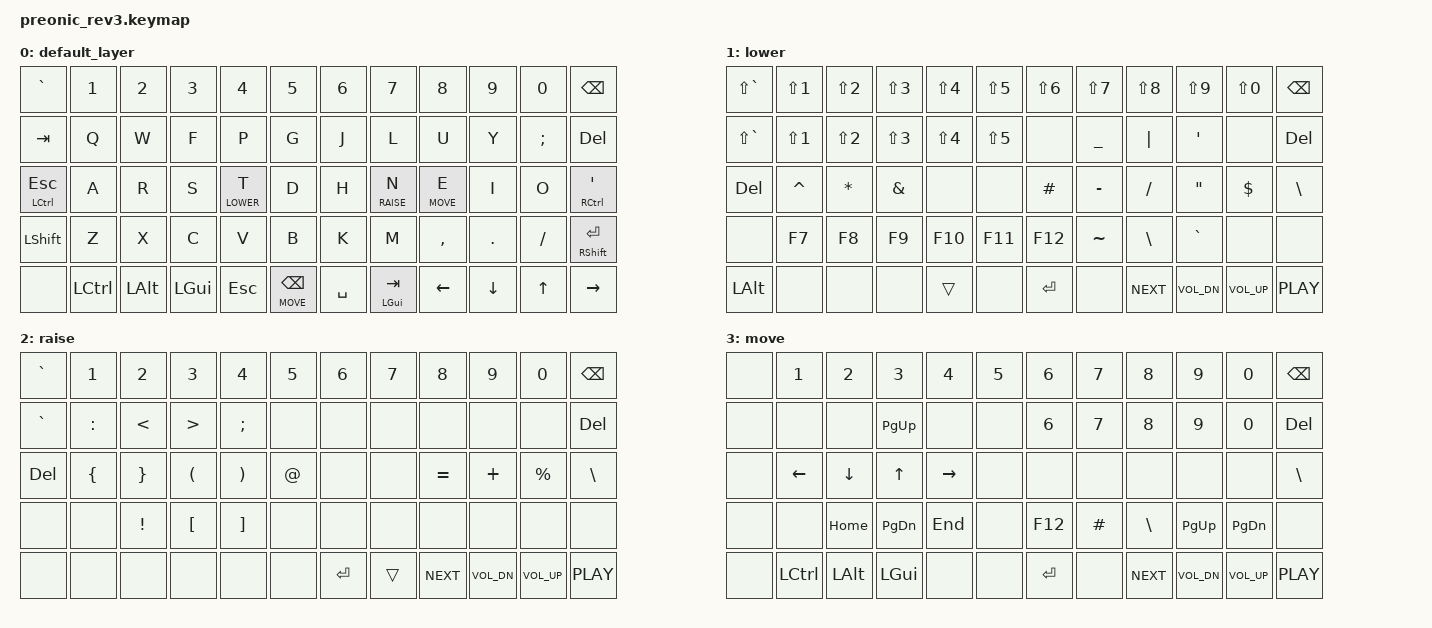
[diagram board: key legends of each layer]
/*
 * Copyright (c) 2022 The ZMK Contributors
 *
 * SPDX-License-Identifier: MIT
 */

#include <behaviors.dtsi>
#include <dt-bindings/zmk/keys.h>
#include <dt-bindings/zmk/bt.h>

#define DEFAULT 0
#define LOWER   1
#define RAISE   2
#define MOVE    3

&sk {
	// don't release mods on other mods presses
	ignore-modifiers;
};

/ {
    behaviors {
		// Enables holding the first mod-tap key
		// by performing a tap-release-hold sequence.
		// To use it: "&qt KEYCODE1 KEYCODE2"
		qt: quick_tap {
			compatible = "zmk,behavior-hold-tap";
			label = "QUICK_TAP";
			#binding-cells = <2>;
			flavor = "hold-preferred";
			tapping-term-ms = <190>;
			quick-tap-ms = <185>;
			bindings = <&kp>, <&kp>;
		};
        gqt: global-quick-tap {
            compatible = "zmk,behavior-hold-tap";
            label = "GLOBAL_QUICK_TAP";
            #binding-cells = <2>;
            flavor = "tap-preferred";
            tapping-term-ms = <175>;
            quick-tap-ms = <175>;
            global-quick-tap;
            bindings = <&mo>, <&kp>;
        };
	};
    combos {
        compatible = "zmk,combos";

        combo_cmd_mac{
			timeout-ms = <200>;
			key-positions = <32 33>;
			bindings = <&kp LGUI>;
            require-prior-idle-ms = <200>;
			layers = <DEFAULT>;
		};

        combo_ctrl_shift {
			timeout-ms = <200>;
			key-positions = <27 28>;
			bindings = <&kp LC(SPACE)>;
            require-prior-idle-ms = <200>;
			layers = <DEFAULT>;
		};
    };
    chosen { zmk,matrix_transform = &layout_grid_transform; };
    keymap {
        compatible = "zmk,keymap";
        default_layer {
            //  -------------------------------------------------------------------------------------------------
            // |  GRAV |  1   |  2   |  3   |  4    |  5     |   6     |  7     |  8   |  9    |   0   | BSPC   |
            // |  TAB  |  Q   |  W   |  F   |  P    |  G     |   J     |  L     |  U   |  Y    |   :   | DEL    |
            // |  ESC  |  A   |  R   |  S   |  T    |  D     |   H     |  N     |  E   |  I    |   O   |  '     |
            // | SHIFT |  Z   |  X   |  C   |  V    |  B     |   K     |  M     |  ,   |  .    |   /   | RET    |
            // |       | LGUI | LALT | LCTL | LOWER | SPACE  |  SPACE  |  RAISE | LEFT |  DOWN |   UP  | RIGHT  |
            bindings = <
                &kp GRAVE      &kp N1     &kp N2    &kp N3    &kp N4        &kp N5          &kp N6     &kp N7         &kp N8      &kp N9    &kp N0     &kp BSPC
                &kp TAB        &kp Q      &kp W     &kp F     &kp P         &kp G           &kp J      &kp L          &kp U       &kp Y     &kp SEMI   &kp DEL
                &mt LCTRL ESC  &kp A      &kp R     &kp S     &lt LOWER T   &kp D           &kp H      &lt RAISE N    &lt MOVE E  &kp I     &kp O      &mt RCTRL SQT
                &kp LSHIFT     &kp Z      &kp X     &kp C     &kp V         &kp B           &kp K      &kp M          &kp COMMA   &kp DOT   &kp SLASH  &mt RSHIFT RET
                &none          &kp LCTRL  &kp LALT  &kp LGUI  &kp ESC       &gqt MOVE BSPC  &kp SPACE  &mt LGUI TAB   &kp LEFT    &kp DOWN  &kp UP     &kp RIGHT
                >;
        };
        lower {
            // ------------------------------------------------------------------------------------------
            // |   ~   |  !   |  @   |  #   |  $   |  %   |   ^   |   &   |   *  |  (   |   )   | BSPC  |
            // |   ~   |  !   |  @   |  #   |  $   |  %   |   ^   |   &   |   *  |  (   |   )   | DEL   |
            // |  DEL  |  F1  |  F2  |  F3  |  F4  |  F5  |  F6   |   -   |   +  |  [   |   ]   |  |    |
            // |       |  F7  |  F8  |  F9  |  F10 |  F11 |  F12  |       | LCTL | HOME |  END  |       |
            // | LALT  |      |      |      |      |      |       |       | NEXT | VOL- | VOL+  | PLAY  |
            bindings = <
                &kp LS(GRAVE)  &kp LS(N1)  &kp LS(N2)  &kp LS(N3)  &kp LS(N4)  &kp LS(N5)  &kp LS(N6)      &kp LS(N7)      &kp LS(N8)   &kp LS(N9)     &kp LS(N0)    &kp BSPC
                &kp LS(GRAVE)  &kp LS(N1)  &kp LS(N2)  &kp LS(N3)  &kp LS(N4)  &kp LS(N5)  &none           &kp UNDERSCORE  &kp PIPE     &kp SQT        &none        &kp DEL
                &kp DEL        &kp CARET   &kp STAR    &kp AMPS    &none       &none       &kp HASH        &kp MINUS       &kp SLASH    &kp DQT        &kp DOLLAR    &kp BSLH
                &none          &kp F7      &kp F8      &kp F9      &kp F10     &kp F11     &kp F12         &kp TILDE       &kp BSLH     &kp GRAVE      &none         &none
                &kp LALT       &none       &none       &none       &trans      &none       &kp RET         &none           &kp C_NEXT   &kp C_VOL_DN   &kp C_VOL_UP  &kp C_PLAY
                >;
        };
        raise {
            // -------------------------------------------------------------------------------------------
            // |   `   |  1   |  2   |  3   |  4   |   5   |   6   |   7   |   8  |  9   |   0   | BSPC  |
            // |   `   |  1   |  2   |  3   |  4   |   5   |   6   |   _   |   8  |  9   |   0   | DEL   |
            // |  DEL  |  F1  |  F2  |  F3  |  F4  |  F5   |  F6   |   -   |     |  [   |   ]   |  \    |
            // |       |  F7  |  F8  |  F9  |  F10 |  F11  |  F12  |   ~   |   \  | PGUP |  PGDN |       |
            // |       |      |      |      |      | SHIFT |       |       | NEXT | VOL- |  VOL+ | PLAY  |
            bindings = <
                &kp GRAVE  &kp N1     &kp N2    &kp N3   &kp N4   &kp N5 &kp N6  &kp N7  &kp N8      &kp N9        &kp N0        &kp BSPC
                &kp GRAVE  &kp COLON  &kp LT 	&kp GT   &kp SEMI &none  &none   &none   &none       &none         &none         &kp DEL
                &kp DEL    &kp LBRC   &kp RBRC 	&kp LPAR &kp RPAR &kp AT &none   &none   &kp EQUAL   &kp PLUS      &kp PERCENT   &kp BSLH
                &none      &none 	  &kp EXCL 	&kp LBKT &kp RBKT &none  &none   &none   &none  	 &none  	   &none         &none
                &none      &none      &none     &none    &none    &none  &kp RET &trans  &kp C_NEXT  &kp C_VOL_DN  &kp C_VOL_UP  &kp C_PLAY
                >;
        };
        move {
            // -------------------------------------------------------------------------------------------
            // |   `   |  1   |  2   |  3   |  4   |   5   |   6   |   7   |   8  |  9   |   0   | BSPC  |
            // |   `   |  1   |  2   |  3   |  4   |   5   |   6   |   7   |   8  |  9   |   0   | DEL   |
            // |  DEL  | left |  F2  |  F3  |  F4  |  F5   |  F6   |   -   |   =  |  [   |   ]   |  \    |
            // |       |  F7  |  F8  |  F9  |  F10 |  F11  |  F12  |   #   |   \  | PGUP |  PGDN |       |
            // |       |      |      |      |      | SHIFT |       |       | NEXT | VOL- |  VOL+ | PLAY  |
            bindings = <
                &none  &kp N1    &kp N2    &kp N3     &kp N4      &kp N5   &kp N6   &kp N7      &kp N8        &kp N9            &kp N0             &kp BSPC
                &none  &none     &none     &kp PG_UP  &none       &none    &kp N6   &kp N7      &kp N8        &kp N9            &kp N0             &kp DEL
                &none  &kp LEFT  &kp DOWN  &kp UP     &kp RIGHT   &none    &none    &none       &none         &none             &none              &kp BSLH
                &none  &none     &kp HOME  &kp PG_DN  &kp END     &none    &kp F12  &kp HASH    &kp BSLH      &kp PG_UP         &kp PG_DN          &none
                &none  &kp LCTRL &kp LALT  &kp LGUI   &none       &none    &kp RET  &none       &kp C_NEXT    &kp C_VOL_DN      &kp C_VOL_UP       &kp C_PLAY
                >;
        };
    };
};
